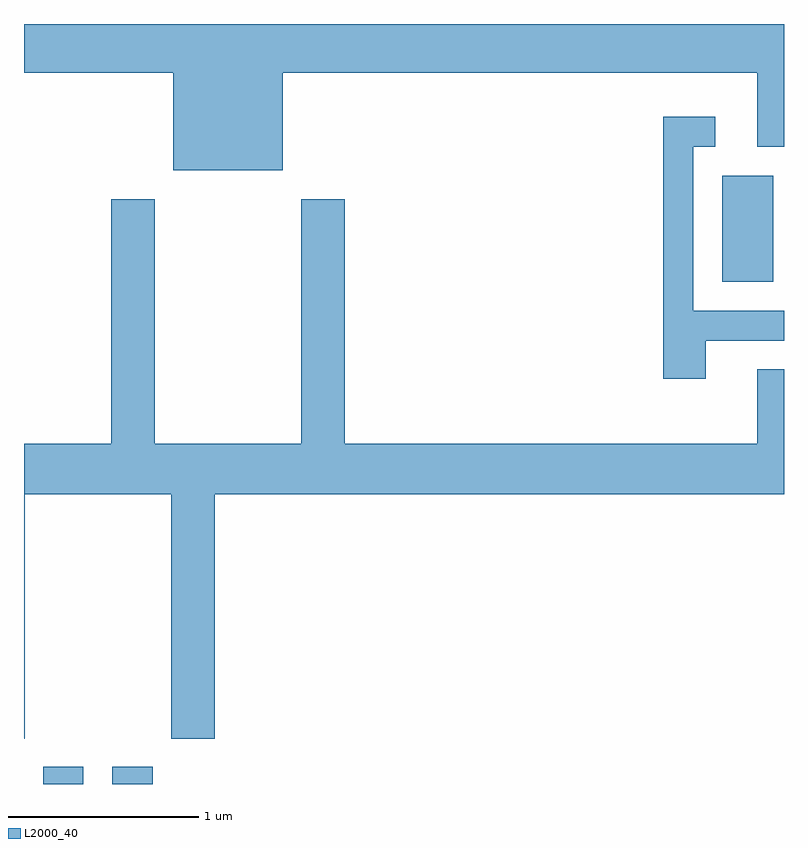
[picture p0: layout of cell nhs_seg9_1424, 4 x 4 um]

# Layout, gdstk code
import gdstk
lib = gdstk.Library(unit=1e-6, precision=1e-09)
def R(c, l, rs):  # rectangles x0, y0, x1, y1
    for r in rs: c.add(gdstk.rectangle(r[:2], r[2:], *l))
def P(c, l, *ps):  # polygons
    for p in ps: c.add(gdstk.Polygon(p, *l))
L2000_40 = (2000, 40)

nhs_seg9_1424 = lib.new_cell('nhs_seg9_1424')
R(nhs_seg9_1424, L2000_40, [(225.711,2072.432,225.924,2072.524), (226.076,2072.432,226.289,2072.524), (229.286,2075.076,229.554,2075.634)])
P(nhs_seg9_1424, L2000_40, [(226.974,2076.176),(229.471,2076.176),(229.471,2075.786),(229.611,2075.786),(229.611,2076.432),(225.611,2076.432),(225.611,2076.176),(226.396,2076.176),(226.396,2075.661),(226.974,2075.661)],
  [(229.199,2074.766),(229.611,2074.766),(229.611,2074.924),(229.134,2074.924),(229.134,2075.786),(229.248,2075.786),(229.248,2075.944),(228.976,2075.944),(228.976,2074.566),(229.199,2074.566)],
  [(225.614,2073.956),(226.386,2073.956),(226.386,2072.671),(226.614,2072.671),(226.614,2073.956),(229.611,2073.956),(229.611,2074.614),(229.471,2074.614),(229.471,2074.224),(227.299,2074.224),(227.299,2075.509),(227.071,2075.509),(227.071,2074.224),(226.299,2074.224),(226.299,2075.509),(226.071,2075.509),(226.071,2074.224),(225.611,2074.224),(225.611,2072.671),(225.614,2072.671)])

lib.write_gds('nhs_seg9_1424.gds')
